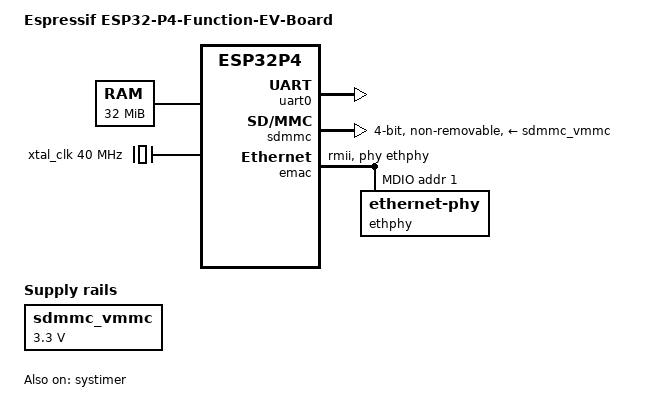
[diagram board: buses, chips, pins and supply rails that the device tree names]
// SPDX-License-Identifier: GPL-2.0
/*
 * Espressif ESP32-P4-Function-EV-Board — native NOMMU Linux on the HP core
 *
 * Derived from the WHY2025 badge DTS (why2025-linux patch 0012) with every
 * badge-only peripheral removed. What is left is chip-level and applies to
 * any ESP32-P4 board that brings out UART0 and a microSD on slot 0.
 *
 *   SoC        ESP32-P4 rev v1.0 (hw_ver1 register layout)
 *   HP core    RV32IMAFC at 360 MHz, M-mode, NOMMU, single core
 *   RAM        32 MB HEX PSRAM at 0x48000000, 80 MHz
 *   Flash      16 MB, DIO — carries the bootloader, kernel and this DTB only
 *   Root       ext4 on microSD (dw_mmc slot 0), NOT flash
 *   Console    UART0 at 0x500CA000, 4 Mbps
 *   SYSTIMER   16 MHz free-running counter (XTAL 40 MHz / 2.5) = timebase
 *
 * Removed relative to the badge: MIPI-DSI host, ST7703 panel, backlight,
 * ESP32-C6 over spi-gpio (esp-hosted Wi-Fi/BT), i2c-gpio bus with TCA8418
 * keypad + BME680 + BMI270, WS2812B LEDs, and the `mtd-rom` flash@deadbeef
 * rootfs window. That last one matters for the bootloader: with the rootfs
 * on SD there is no placeholder `reg` to patch at runtime, so this DTB is a
 * static blob the bootloader copies verbatim.
 *
 * Folded in from patches that used to edit the badge DTS, so those patches
 * are dropped from the series:
 *   0020  wdt0 node                                   (see watchdog@500c2000)
 *   0022  systimer trigger EDGE_RISING -> LEVEL_HIGH  (see timer@500e2000)
 *
 * ---------------------------------------------------------------------
 * WHAT THE BOOTLOADER MUST HAVE DONE BEFORE JUMPING HERE
 *
 * Linux has no ESP32-P4 clock, pinctrl or LDO driver, so several nodes
 * below are deliberate fictions: fixed-clock stubs and always-on fixed
 * regulators that describe state the bootloader is expected to have
 * established. If any of these is not true, the matching driver does not
 * fail loudly — it computes the wrong divisor or probes an unpowered
 * device.
 *
 *   1. UART0 configured 4000000 8N1, SCLK = XTAL (40 MHz), clkdiv = 10.
 *      40e6 / 4e6 is exactly 10, so no fractional divisor is involved —
 *      unlike 115200, which needs 347 + 4/16.
 *   2. SDMMC clocks in HP_SYS_CLKRST: source PLL_F160M, host divider 4,
 *      giving the 40 MHz biu/ciu that sdmmc_{biu,ciu}_clk below claim.
 *   3. SDMMC slot-0 IOMUX routed, function 0:
 *         GPIO39=D0 GPIO40=D1 GPIO41=D2 GPIO42=D3 GPIO43=CLK GPIO44=CMD
 *      These are the P4's dedicated slot-0 pins (ESP-IDF sdmmc_pins.h
 *      SDMMC_SLOT0_IOMUX_*), not board wiring — same on any P4 board.
 *   4. LDO channel 4 set to 3.3 V for the microSD, via
 *      PMU.ext_ldo[4] (PMU_EXT_LDO_P1_0P2A_REG @ PMU_BASE + 0x1d8).
 *      Skip this and dw_mmc probes an empty slot: `rootwait` then hangs
 *      forever with no error message.
 *
 * Plus the usual: PSRAM up, kernel at 0x48000000, this DTB at 0x48800000,
 * a0 = hartid (0), a1 = DTB physical address, mstatus.MIE clear, fence.i.
 * ---------------------------------------------------------------------
 */
/dts-v1/;

#include <dt-bindings/interrupt-controller/irq.h>
#include <dt-bindings/gpio/gpio.h>

/ {
	#address-cells = <1>;
	#size-cells = <1>;
	model = "Espressif ESP32-P4-Function-EV-Board";
	compatible = "espressif,esp32p4-function-ev", "espressif,esp32p4";

	cpus {
		#address-cells = <1>;
		#size-cells = <0>;
		timebase-frequency = <16000000>;

		CPU0: cpu@0 {
			device_type = "cpu";
			compatible = "riscv";
			reg = <0>;
			/*
			 * The core really is RV32IMAFC, but CONFIG_FPU is off:
			 * arch/riscv/Makefile appends "fd" (not "f") for
			 * CONFIG_FPU, and arch/riscv/kernel/fpu.S saves state
			 * with fsd — RV32D, which this core does not implement.
			 * Declaring imafc here is harmless; nothing consumes it
			 * to enable the FPU.
			 */
			riscv,isa = "rv32imafc";
			mmu-type = "riscv,none";
			status = "okay";

			CPU0_intc: interrupt-controller {
				#interrupt-cells = <1>;
				compatible = "riscv,cpu-intc";
				interrupt-controller;
			};
		};
	};

	memory@48000000 {
		device_type = "memory";
		reg = <0x48000000 0x02000000>; /* 32 MB PSRAM */
	};

	/*
	 * XTAL fixed-rate clock at 40 MHz. The UART driver selects XTAL_CLK
	 * in CLK_CONF and computes its divisor from this rate.
	 */
	xtal_clk: xtal-clk {
		compatible = "fixed-clock";
		#clock-cells = <0>;
		clock-frequency = <40000000>;
		clock-output-names = "xtal";
	};

	aliases {
		serial0 = &uart0;
	};

	chosen {
		stdout-path = "serial0:4000000n8";
		/*
		 * CONFIG_CMDLINE_FORCE=y, so the kernel's built-in command
		 * line wins and this string is never parsed. It is kept in
		 * sync with config/kernel.config purely so the DTB is
		 * self-describing; change both together or neither.
		 */
		bootargs = "earlycon console=ttyS0,4000000 root=/dev/mmcblk0p1 rootfstype=ext4 rootwait rw loglevel=8";
	};

	soc: soc {
		#address-cells = <1>;
		#size-cells = <1>;
		compatible = "simple-bus";
		ranges;

		/*
		 * CLIC: Core-Local Interrupt Controller for the HP core.
		 * 240 slots x 4 bytes. Slots 16-239 take peripheral sources
		 * routed through the interrupt matrix.
		 *
		 * reg[0]: CLIC control registers
		 * reg[1]: INTMTX HP core-0 base — the CLIC driver uses it to
		 *         route peripheral sources onto slots.
		 *
		 * #interrupt-cells = 3: <clic_slot intmtx_source trigger>
		 *   intmtx_source 0 means no routing (local interrupts).
		 *
		 * No interrupts-extended link to CPU0_intc: the CLIC<->hart
		 * wiring is done in-driver (IRQCHIP_DECLARE, and riscv_intc
		 * reads the active slot out of mcause), not through a DT
		 * interrupt-parent chain. CPU0_intc therefore has no DT
		 * consumers here, by design.
		 *
		 * Slot map used on this board:
		 *   17 systimer   18 uart0   21 gpio bank0   22 sdmmc
		 */
		clic0: interrupt-controller@20801000 {
			compatible = "espressif,esp32p4-clic";
			reg = <0x20801000 0x3c0>,
			      <0x500d6000 0x200>;
			interrupt-controller;
			#interrupt-cells = <3>;
		};

		/*
		 * SYSTIMER: 52-bit counter at 16 MHz, alarm 0 -> INTMTX
		 * source 53 -> CLIC slot 17.
		 *
		 * LEVEL_HIGH, not EDGE_RISING (why2025 patch 0022, folded in
		 * here). target0 is a latched status bit: it asserts on match
		 * and stays asserted until ST_INT_CLR, so level is the
		 * self-healing fit. On an edge slot, a re-armed one-shot tick
		 * that loses or coalesces a single edge dies permanently —
		 * and every watchdog on the system is fed by that tick.
		 */
		systimer: timer@500e2000 {
			compatible = "espressif,esp32p4-systimer";
			reg = <0x500e2000 0x100>;
			interrupts-extended = <&clic0 17 53 IRQ_TYPE_LEVEL_HIGH>;
			status = "okay";
		};

		/*
		 * UART0 — the console, and on a headless board the only way
		 * to see anything at all.
		 *
		 * Configured 4000000 8N1 by the bootloader; INTMTX source 31
		 * (ETS_UART0_INTR_SOURCE) -> CLIC slot 18. Level-triggered so
		 * bytes arriving while the FIFO is still non-empty re-fire.
		 *
		 * DO NOT ADD `clock-frequency` HERE. It looks harmless and it
		 * is not. drivers/tty/serial/earlycon.c:310 reads that
		 * property into port->uartclk, and esp32_uart.c then does
		 *
		 *     if (device->port.uartclk != BASE_BAUD * 16)
		 *             esp32_uart_set_baud(&device->port, device->baud);
		 *
		 * so a present clock-frequency makes earlycon REPROGRAM the
		 * baud from the command-line string, fighting whatever the
		 * bootloader set. With the property absent, uartclk stays 0,
		 * earlycon.c:148 defaults it to BASE_BAUD * 16, the test is
		 * false, and earlycon inherits the bootloader's baud — which
		 * is what we want. The hypervisor DTS in the sibling repo does
		 * carry clock-frequency on its 16550 node; do not copy that
		 * habit across.
		 *
		 * `clocks` is different and is required: the full driver uses
		 * it in set_termios to compute clkdiv for console=ttyS0,N.
		 */
		uart0: serial@500ca000 {
			compatible = "esp,esp32p4-uart";
			reg = <0x500ca000 0x1000>;
			interrupts-extended = <&clic0 18 31 IRQ_TYPE_LEVEL_HIGH>;
			clocks = <&xtal_clk>;
			status = "okay";
		};

		/*
		 * TIMG0 main watchdog (MWDT0), stage 0 = system reset.
		 * why2025 patch 0020, folded in here.
		 *
		 * Started at probe with WDOG_HW_RUNNING so the watchdog core
		 * feeds it from boot until userspace opens /dev/watchdog: a
		 * scheduler-killing wedge stops the feeds and the chip resets
		 * within timeout-sec. This is also the only working `reboot`
		 * path on this SoC — it registers the machine restart handler.
		 *
		 * Clocked from the 40 MHz XTAL with a fixed in-driver
		 * prescaler; the MWDT module clock defaults to enabled on P4,
		 * so no clocks handle is needed.
		 *
		 * Patch 0034 moves the arm to subsys_initcall, but freezes
		 * before ~0.3 s are still uncovered — arming MWDT in the
		 * bootloader is the open item there.
		 *
		 * timeout-sec was 30, and 30 was wrong. Nothing in this
		 * rootfs opens /dev/watchdog — there is no busybox `watchdog`
		 * applet built — so the feeds come from watchdog_core's
		 * workqueue for the life of the system
		 * (CONFIG_WATCHDOG_HANDLE_BOOT_ENABLED=y). This board has one
		 * usable core, so a long stretch of hard I/O starves that
		 * workqueue, and `mkfs.ext2` on the 512 MiB partition reliably
		 * took longer than 30 s and reset the board mid-format:
		 *
		 *   p4boot: reset reason 0x07 (MWDT (core))
		 *
		 * That is a false positive, and an expensive one — it looks
		 * exactly like the driver hanging. 240 s still recovers a
		 * genuinely wedged board in well under five minutes, which is
		 * all this is for; the driver's max_timeout is 3600.
		 *
		 * The real fix is a userspace feeder (busybox CONFIG_WATCHDOG,
		 * one line in board/busybox.fragment) so the timeout can go
		 * back down and mean something. Until then, do not lower this
		 * without checking how long a format takes.
		 */
		wdt0: watchdog@500c2000 {
			compatible = "espressif,esp32p4-wdt";
			reg = <0x500c2000 0x100>;
			timeout-sec = <240>;
		};
	};
};

/ {
	reserved-memory {
		#address-cells = <1>;
		#size-cells = <1>;
		ranges;

		/*
		 * Reserved pool for large NOMMU user-space mmap allocations
		 * (why2025 patch 0010), routed through do_mmap_private.
		 * 10 MB at the top of PSRAM: 0x49600000 + 0xa00000 lands
		 * exactly on 0x4A000000, the end of the memory node.
		 *
		 * THIS BACKS bFLT PROGRAM TEXT/DATA, NOT JUST mmap-anon.
		 * An earlier version of this comment claimed otherwise and it
		 * cost an evening. Patch 0010 hooks do_mmap_private() in
		 * mm/nommu.c, which is the allocator binfmt_flat uses for
		 * every exec, and it tries the pool BEFORE buddy:
		 *
		 *   base = nommu_userspace_pool_alloc(point << PAGE_SHIFT);
		 *   if (base) { ... } else
		 *           base = alloc_pages_exact(...);
		 *
		 * So this number is the machine's capacity to run programs.
		 * Shrinking it does not "hand memory back to buddy" in any
		 * useful sense — it trades exec headroom for a bigger
		 * MemTotal, and when it runs out you get
		 *
		 *   binfmt_flat: Unable to allocate RAM for process text/data
		 *   nommu: Allocation of length 634880 from process N failed
		 *
		 * from buddy, which is too fragmented to honour 620 KB
		 * contiguous on a machine this small. That is the failure the
		 * pool exists to prevent.
		 *
		 * Sizing, measured rather than guessed: busybox needs 620 KB
		 * per exec, `as` is 1.4 MB and `objcopy` 1.1 MB.
		 *
		 * BACK TO 10 MB, 2026-09-10. It was cut to 6 MB the day before
		 * to make MemTotal look better, and that was the wrong trade.
		 * 6 MB is enough for a login shell and a couple of commands
		 * and runs out on anything real — an ordinary shell pipeline
		 * with two command substitutions is five concurrent busybox
		 * images, and once the pool is gone the buddy allocator has
		 * to find 620 KB physically contiguous, which on this machine
		 * it cannot:
		 *
		 *   nommu: Allocation of length 634880 from process 131 failed
		 *   Normal: ... 6*512kB 0*1024kB 0*2048kB = 9248kB
		 *
		 * Nine megabytes free and not one block big enough. That is
		 * the whole reason this pool exists, and it is worth 4 MB of
		 * MemTotal to keep it working. The real memory win of the
		 * previous day was never this — it was moving the root
		 * filesystem off the initramfs, which is what freed 8 MB of
		 * unevictable page cache.
		 *
		 * Keep the top edge pinned at 0x4A000000 if you resize it.
		 *
		 * CMA would give both properties at once — accounted *and*
		 * contiguous — but `config CMA` depends on MMU, which is the
		 * whole reason patch 0010 exists.
		 */
		app_pool: app-pool@49600000 {
			compatible = "linux,nommu-userspace-pool";
			reg = <0x49600000 0x00a00000>;
		};

	};

	/*
	 * On-chip LDO channel 4 powers the microSD slot. The bootloader sets
	 * it to 3.3 V via PMU.ext_ldo[4] (PMU_EXT_LDO_P1_0P2A_REG @ +0x1d8);
	 * modelled as an always-on fixed regulator until a real esp32p4-ldo
	 * driver exists.
	 */
	sdmmc_vmmc: regulator-sdmmc-vmmc {
		compatible = "regulator-fixed";
		regulator-name = "sdmmc-vmmc";
		regulator-min-microvolt = <3300000>;
		regulator-max-microvolt = <3300000>;
		regulator-always-on;
		regulator-boot-on;
	};

	/*
	 * biu/ciu stubs. These are not measurements — they are assertions
	 * about what the bootloader programmed into HP_SYS_CLKRST
	 * (PLL_F160M, host divider 4 -> 40 MHz). dw_mmc then picks
	 * card_div = 1 for a 20 MHz card clock, inside the 25 MHz
	 * default-speed cap set by max-frequency below.
	 *
	 * Change the divider in the bootloader without changing these and
	 * the card clock is silently wrong.
	 */
	sdmmc_biu_clk: sdmmc-biu-clk {
		compatible = "fixed-clock";
		#clock-cells = <0>;
		clock-frequency = <40000000>;
		clock-output-names = "sdmmc-biu";
	};

	sdmmc_ciu_clk: sdmmc-ciu-clk {
		compatible = "fixed-clock";
		#clock-cells = <0>;
		clock-frequency = <40000000>;
		clock-output-names = "sdmmc-ciu";
	};
};

&soc {
	/*
	 * GPIO / IO MUX. The P4 keeps both in one register block; the driver
	 * models it as two banks (0 = GPIO 0..31, 1 = GPIO 32..63).
	 *
	 * Nothing in this DTS consumes a GPIO today — the badge's consumers
	 * (panel reset, C6 reset, backlight, WS2812) are all gone. Kept
	 * because it costs one CLIC slot and gives you card-detect and
	 * general poking without a rebuild. See the sdmmc node for the
	 * cd-gpios upgrade.
	 */
	/*
	 * BOTH BANKS ARE DISABLED, and this is why.
	 *
	 * esp32p4_gpio_driver_init() hangs. Not a fault -- no oops, no trap,
	 * the console simply stops and ~30 s later the MWDT does its job and
	 * resets the board. Captured on hardware 2026-09-08 with
	 * initcall_debug:
	 *
	 *   calling  esp32p4_gpio_driver_init+0x0/0x12 @ 1
	 *   gpio gpiochip0: Static allocation of GPIO base is deprecated...
	 *   <nothing, ever>
	 *
	 * and the bootloader then reports reset reason 0x07, MWDT (core).
	 * The probe prints and never returns.
	 *
	 * Disabling both banks is what got this board to a usable Linux: with
	 * them off the boot runs straight through to mounting root. Nothing
	 * here consumes a GPIO -- the badge's consumers were all removed, and
	 * the sdmmc node polls with broken-cd rather than using cd-gpios -- so
	 * nothing is lost today beyond card-detect and general pin poking.
	 *
	 * Suspicion, untested: bank 0 is the one with the irqchip, and bank 1
	 * claims the SAME register window (0x500e0000) as bank 0. Either the
	 * CLIC hookup or the second devm_ioremap of an already-claimed region
	 * is a better first suspect than the gpiochip registration itself,
	 * which had already printed by the time it wedged. Re-enable them one
	 * at a time to find out -- bank 1 first, since it has no interrupt.
	 */
	gpio0: gpio@500e0000 {
		compatible = "espressif,esp32p4-gpio";
		reg = <0x500e0000 0x1000>;
		espressif,bank-id = <0>;
		gpio-controller;
		#gpio-cells = <2>;
		interrupt-controller;
		#interrupt-cells = <2>;
		interrupts-extended = <&clic0 21 74 IRQ_TYPE_LEVEL_HIGH>;
		status = "disabled";
	};

	gpio1: gpio-bank1@500e0000 {
		compatible = "espressif,esp32p4-gpio";
		reg = <0x500e0000 0x1000>;
		espressif,bank-id = <1>;
		gpio-controller;
		#gpio-cells = <2>;
		status = "disabled";
	};

	/*
	 * microSD — the root filesystem, and the only writable storage on
	 * the board.
	 *
	 * The IP is byte-for-byte DesignWare DW MMC; the register map matches
	 * mainline drivers/mmc/host/dw_mmc.h offsets exactly, so mainline
	 * `snps,dw-mshc` drives it with no glue file. Patch 0007 is still
	 * required: it restores multi-slot support and adds the cached-
	 * descriptor-ring IDMAC fallback the P4's cache behaviour needs.
	 *
	 * dma-noncoherent is load-bearing — pair it with the riscv
	 * non-standard cache ops from patch 0001.
	 *
	 * INTMTX source 23 (ETS_SDIO_HOST_INTR_SOURCE) -> CLIC slot 22,
	 * level-high (RINTSTS is read-to-ack but the line stays asserted
	 * until the status bits are cleared).
	 *
	 * broken-cd makes the mmc core poll for a card about once a second,
	 * forever. If the EV board's CD line turns out to be wired to a GPIO,
	 * replace it with cd-gpios = <&gpio0 N GPIO_ACTIVE_LOW> and the poll
	 * goes away.
	 *
	 * fifo-depth is deliberately omitted: dw_mmc reads FIFOTH at probe.
	 * Hardcoding it wrong is worse than letting the driver ask.
	 */
	sdmmc: mmc@50083000 {
		compatible = "snps,dw-mshc";
		reg = <0x50083000 0x1000>;
		dma-noncoherent;

		interrupts-extended = <&clic0 22 23 IRQ_TYPE_LEVEL_HIGH>;

		clocks = <&sdmmc_biu_clk>, <&sdmmc_ciu_clk>;
		clock-names = "biu", "ciu";

		vmmc-supply = <&sdmmc_vmmc>;

		bus-width = <4>;
		/*
		 * non-removable, NOT broken-cd.
		 *
		 * broken-cd makes the mmc core poll for card presence roughly
		 * once a second, forever. Every poll is an mmc request issued
		 * alongside whatever filesystem I/O is in flight, and this card
		 * is not going anywhere, so the poll buys nothing. Kept because
		 * it is the right description of the board either way.
		 *
		 * It did NOT fix the SD root-mount hang, and neither did dropping
		 * max-frequency to 4 MHz -- both were tried on hardware
		 * 2026-09-08 and the mount wedged identically. See
		 * docs/STATUS-2026-09-08.md; the cause is in the mmc/filesystem
		 * path, not in these properties. max-frequency is back at the
		 * value that has the most successful I/O behind it: mkfs and a
		 * full 4.4 MB rootfs copy both completed at this setting.
		 */
		non-removable;
		disable-wp;

		/*
		 * fifo-mode is deliberately NOT set, though patches/linux/0035
		 * adds support for it. Forcing PIO was tried on hardware
		 * 2026-09-08 to dodge the scatter-gather IDMAC hang and it made
		 * things WORSE: with PIO the card enumerates but the partition
		 * scan itself never completes -- the boot dies before even
		 * printing "mmcblk0: p1 p2", where IDMAC at least gets a mounted
		 * filesystem and a readable root directory.
		 *
		 * Add `fifo-mode;` here to reproduce that. See
		 * docs/STATUS-2026-09-08.md for the full picture.
		 */
		max-frequency = <25000000>;

		#address-cells = <1>;
		#size-cells = <0>;

		status = "okay";
	};

	/*
	 * Ethernet.
	 *
	 * The ESP32-P4's EMAC is a Synopsys DesignWare GMAC, register for
	 * register -- 0x00 MACCONFIGURATION, 0x10 GMIIADDRESS, 0x14 GMIIDATA,
	 * 0x18 FLOWCONTROL, and ESP-IDF's own field name for the third of
	 * those is `emacgmiiaddr`. So mainline stmmac drives it with no glue
	 * file, exactly as mainline dw_mmc drives the SD controller.
	 *
	 * dwmac-3.70a is the compatible dwmac1000_core matches; the block
	 * reports its own version in MACVERSION at 0x20, so if this turns out
	 * to be wrong `devmem 0x50098020` says what it should be.
	 *
	 * INTMTX source 92 (ETS_ETH_MAC_INTR_SOURCE) -> CLIC slot 23, which
	 * is the first free slot: 17 systimer, 18 uart0, 21 gpio bank0,
	 * 22 sdmmc.
	 *
	 * dma-noncoherent, like the SD node, pairs with the riscv
	 * non-standard cache ops from patch 0001.
	 *
	 * WHAT THE BOOTLOADER MUST HAVE DONE (p4/p4_emac.c)
	 *   EMAC bus clock on, module reset pulsed, PHY_INTF_SEL = RMII,
	 *   the RMII-input clock tree configured, the seven RMII pads on
	 *   IOMUX function 3, MDC/MDIO routed through the GPIO matrix, and
	 *   the PHY pulled out of reset on GPIO 51.
	 */
	/*
	 * WHY TRANSMIT USED TO HANG, AND WHAT FIXED IT.
	 *
	 * Kept because the symptom was thoroughly misleading and the next
	 * person to touch snps,force_thresh_dma_mode deserves to know what
	 * happens without it.
	 *
	 * THE SYMPTOM. Link negotiated 100 Mbps full duplex, the PHY answered
	 * MDIO, receive worked continuously -- and transmit stopped dead after
	 * a handful of packets, with the netdev watchdog resetting the adapter
	 * every five seconds:
	 *
	 *   eth0: NETDEV WATCHDOG: CPU: 0: transmit queue 0 timed out 5644 ms
	 *   eth0: Reset adapter.
	 *
	 * Small frames went out fine. A DHCP DISCOVER never did, so the board
	 * could receive the whole LAN's broadcast traffic and still never get
	 * an address.
	 *
	 * WHAT IT WAS. The DMA parked in transmit state TS=3, "reading frame
	 * data from host memory into the Tx FIFO", and stayed there forever --
	 * no error bit, no underflow, no bus fault, just stopped mid-fetch:
	 *
	 *   DMASTATUS 0x00360000  TS=3       CURHOSTTXBUF 0x48d6a002
	 *   tx_packets frozen     BQL inflight stuck at 342 (the DISCOVER)
	 *
	 * stmmac had turned on store-and-forward in both directions, because
	 * dma_cap.tx_coe is set on this block and that alone is enough for
	 * stmmac_dma_operation_mode() to choose SF. Store-and-forward means the
	 * DMA pulls the entire frame into the FIFO before the MAC starts
	 * sending -- and the FIFOs on this part are a few hundred bytes. ESP-IDF
	 * says so itself, in a comment on the very same register
	 * (emac_hal_init_dma_default):
	 *
	 *     Disable Receive Store Forward (Rx FIFO is only 256B)
	 *
	 * A 342-byte frame never fits, so the transfer never completes. 86-byte
	 * frames fit, which is exactly why the failure looked size-dependent
	 * and random rather than like a mode error.
	 *
	 * The four snps properties on the node put stmmac's DMA configuration
	 * back where IDF has it. Threshold mode is the one that matters; the
	 * other three are matched to IDF because that is the combination the
	 * vendor validates.
	 *
	 * WHAT WAS NOT THE CAUSE, all measured on hardware through /dev/mem
	 * (patch 0040) rather than reasoned about, and all worth not
	 * re-investigating:
	 *
	 *   the DMA reaching PSRAM   TXDESCLISTADDR 0x48ae4000, the DMA walked
	 *                            8 descriptors into it and fetched buffers
	 *                            from it. It reads PSRAM fine.
	 *   bus errors               no FBI, EB = 0, AHBORAXISTATUS = 0
	 *   dropped frames           MISSEDFRAMECNT = 0
	 *   the receive filter       MACFRAMEFILTER = 0
	 *   the MAC being off        MACCONFIG = 0x0041cc0c, RE and TE set
	 *   interrupts               DMA_INTEN = 0x0001a061; the count on
	 *                            /proc/interrupts looked stuck at 1 only
	 *                            because the awk was matching the wrong
	 *                            line -- receive interrupts ran the whole
	 *                            time
	 *   the CLIC slot            23 and 19 behave identically
	 *   the INTMTX source        92 is ETS_ETH_MAC_INTR_SOURCE, what IDF's
	 *                            own driver allocates
	 *
	 * An earlier version of this comment claimed the EMAC's DMA cannot
	 * reach PSRAM, inferred from IDF allocating buffers with
	 * MALLOC_CAP_INTERNAL. That was wrong: soc_caps.h carries a blanket
	 * SOC_PSRAM_DMA_CAPABLE for this chip, and the register dump above
	 * shows the DMA using PSRAM addresses without complaint.
	 */
	emac: ethernet@50098000 {
		compatible = "snps,dwmac-3.70a", "snps,dwmac";
		reg = <0x50098000 0x2000>;

		interrupts-extended = <&clic0 23 92 IRQ_TYPE_LEVEL_HIGH>;
		interrupt-names = "macirq";

		clocks = <&emac_sys_clk>, <&emac_sys_clk>;
		clock-names = "stmmaceth", "pclk";

		phy-mode = "rmii";
		phy-handle = <&ethphy>;
		dma-noncoherent;

		/*
		 * The MDC divider, set explicitly rather than derived from the
		 * clock rate, because the rate is not knowable from here.
		 *
		 * stmmac normally picks the divider from clk_get_rate() on
		 * "stmmaceth". The EMAC's CSR clock on this part is SYS_CLK
		 * (ESP-IDF: emac_ll_get_csr_clk_src -> SOC_MOD_CLK_SYS), and
		 * SYS_CLK is cpu / mem_div / sys_div with both dividers set at
		 * runtime -- so no honest fixed-clock value exists for it.
		 *
		 * 5 is STMMAC_CSR_250_300M, meaning CSR/124, and it is chosen
		 * as the SAFE divider rather than the accurate one: MDC must
		 * stay under 2.5 MHz, and /124 keeps it there for any SYS_CLK
		 * up to ~310 MHz. A too-slow MDC costs nothing; a too-fast one
		 * makes the PHY answer garbage or not at all.
		 *
		 * If the PHY is not detected, this is the first thing to
		 * change -- stmmac's encoding is the hardware's, so 0=/42,
		 * 1=/62, 2=/16, 3=/26, 4=/102, 5=/124.
		 */
		snps,clk-csr = <5>;

		/*
		 * DMA burst and FIFO mode, matched to ESP-IDF's own settings.
		 *
		 * These four are not tuning. They are the difference between
		 * transmitting and hanging, and each one mirrors a line in
		 * IDF's emac_hal_init_dma_default():
		 *
		 *   snps,force_thresh_dma_mode  -> TSF=0, RSF=0, threshold 64
		 *   snps,aal                    -> AAL,  address-aligned beats
		 *   snps,mixed-burst            -> MB,   let the DMA shorten a
		 *                                        burst instead of
		 *                                        forcing PBL every time
		 *   snps,no-pbl-x8              -> PBL stays 8 beats, not 8x8
		 *
		 * The one that matters is the first. Left to itself stmmac
		 * turns on store-and-forward in both directions, because
		 * dma_cap.tx_coe is set on this block and that is enough for
		 * stmmac_dma_operation_mode() to choose SF. Store-and-forward
		 * means the DMA pulls the whole frame into the FIFO before the
		 * MAC starts sending it -- and IDF's comment on the very same
		 * register says why that cannot work here:
		 *
		 *     Disable Receive Store Forward (Rx FIFO is only 256B)
		 *
		 * The FIFOs on this part are a few hundred bytes. Anything
		 * larger than that never fits, and the DMA simply stops with
		 * the frame half-read. Threshold mode starts transmitting once
		 * 64 bytes are in the FIFO and streams the rest, which is what
		 * a FIFO this small requires.
		 */
		snps,pbl = <8>;
		snps,no-pbl-x8;
		snps,aal;
		snps,mixed-burst;
		snps,force_thresh_dma_mode;

		status = "okay";

		/*
		 * The PHY has to be declared here, and leaving it out does
		 * NOT fall back to scanning -- that was the first thing tried
		 * and it cost a boot cycle to understand.
		 *
		 * With an `mdio` subnode present, stmmac_mdio_register() uses
		 * of_mdiobus_register(), which instantiates exactly the PHYs
		 * the device tree declares and scans for nothing. So
		 * plat->phy_addr stays -1, and stmmac_init_phy() reports the
		 * singularly unhelpful
		 *
		 *   stmmaceth 50098000.ethernet eth0: no phy found
		 *
		 * while the PHY is sitting there answering perfectly well.
		 *
		 * Address 1 and the identity come from the bootloader's own
		 * MDIO scan (p4_emac_mdio_scan), which reads the ID registers
		 * directly in M-mode:
		 *
		 *   p4boot: emac:   PHY at addr 1: id 0x02430c54, bmsr 0x7849,
		 *           link down (CR5 = CSR/124)
		 *
		 * 0x02430c54 is an IC Plus IP101, which is what this board
		 * fits; CONFIG_ICPLUS_PHY drives it. That scan also confirms
		 * snps,clk-csr = <5> above, since CSR/124 is the divider it
		 * got an answer with.
		 */
		mdio {
			compatible = "snps,dwmac-mdio";
			#address-cells = <1>;
			#size-cells = <0>;

			ethphy: ethernet-phy@1 {
				reg = <1>;
			};
		};
	};
};

/ {
	/*
	 * A stub for the EMAC's CSR clock. stmmac calls clk_get() on
	 * "stmmaceth" and fails to probe without it, but the actual rate is
	 * not used: snps,clk-csr above overrides the rate-derived divider.
	 * The value is therefore deliberately a placeholder, and the node
	 * exists to satisfy the binding rather than to describe hardware.
	 */
	emac_sys_clk: emac-sys-clk {
		compatible = "fixed-clock";
		#clock-cells = <0>;
		clock-frequency = <180000000>;
		clock-output-names = "emac_sys_clk";
	};
};
